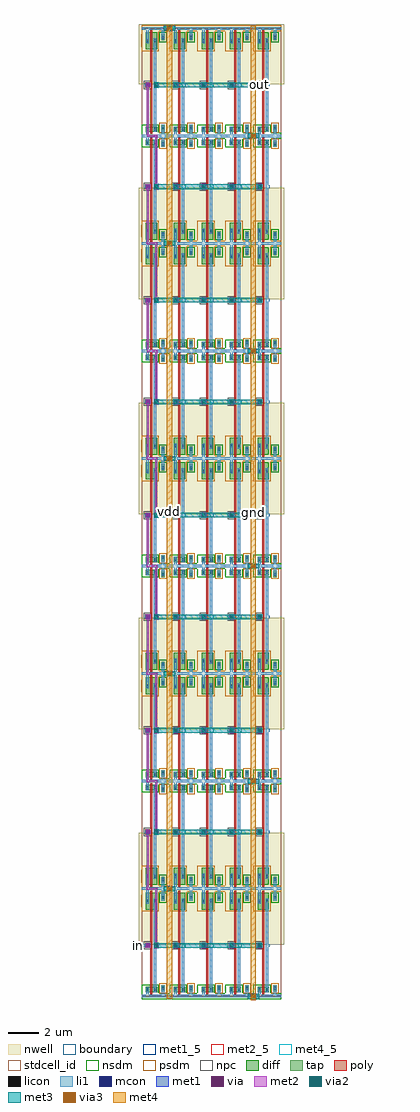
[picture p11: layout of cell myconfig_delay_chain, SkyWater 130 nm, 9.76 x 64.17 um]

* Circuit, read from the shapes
.subckt myconfig_delay_chain gnd in out vdd
XM1 myconfig_pinv_12_1/A in gnd gnd sky130_fd_pr__nfet_01v8 w=0.36 l=0.15
XM2 myconfig_pinv_12_10/A myconfig_pinv_12_1/A gnd gnd sky130_fd_pr__nfet_01v8 w=0.36 l=0.15
XM3 myconfig_pinv_12_11/A myconfig_pinv_12_10/A gnd gnd sky130_fd_pr__nfet_01v8 w=0.36 l=0.15
XM4 myconfig_pinv_12_16/A myconfig_pinv_12_11/A gnd gnd sky130_fd_pr__nfet_01v8 w=0.36 l=0.15
XM5 myconfig_pinv_12_21/A myconfig_pinv_12_16/A gnd gnd sky130_fd_pr__nfet_01v8 w=0.36 l=0.15
XM6 myconfig_pinv_12_26/A myconfig_pinv_12_21/A gnd gnd sky130_fd_pr__nfet_01v8 w=0.36 l=0.15
XM7 myconfig_pinv_12_31/A myconfig_pinv_12_26/A gnd gnd sky130_fd_pr__nfet_01v8 w=0.36 l=0.15
XM8 myconfig_pinv_12_36/A myconfig_pinv_12_31/A gnd gnd sky130_fd_pr__nfet_01v8 w=0.36 l=0.15
XM9 out myconfig_pinv_12_36/A gnd gnd sky130_fd_pr__nfet_01v8 w=0.36 l=0.15
XM10 myconfig_pinv_12_1/Z myconfig_pinv_12_1/A gnd gnd sky130_fd_pr__nfet_01v8 w=0.36 l=0.15
XM11 myconfig_pinv_12_6/Z myconfig_pinv_12_10/A gnd gnd sky130_fd_pr__nfet_01v8 w=0.36 l=0.15
XM12 myconfig_pinv_12_11/Z myconfig_pinv_12_11/A gnd gnd sky130_fd_pr__nfet_01v8 w=0.36 l=0.15
XM13 myconfig_pinv_12_16/Z myconfig_pinv_12_16/A gnd gnd sky130_fd_pr__nfet_01v8 w=0.36 l=0.15
XM14 myconfig_pinv_12_21/Z myconfig_pinv_12_21/A gnd gnd sky130_fd_pr__nfet_01v8 w=0.36 l=0.15
XM15 myconfig_pinv_12_26/Z myconfig_pinv_12_26/A gnd gnd sky130_fd_pr__nfet_01v8 w=0.36 l=0.15
XM16 myconfig_pinv_12_31/Z myconfig_pinv_12_31/A gnd gnd sky130_fd_pr__nfet_01v8 w=0.36 l=0.15
XM17 myconfig_pinv_12_36/Z myconfig_pinv_12_36/A gnd gnd sky130_fd_pr__nfet_01v8 w=0.36 l=0.15
XM18 myconfig_pinv_12_41/Z out gnd gnd sky130_fd_pr__nfet_01v8 w=0.36 l=0.15
XM19 myconfig_pinv_12_2/Z myconfig_pinv_12_1/A gnd gnd sky130_fd_pr__nfet_01v8 w=0.36 l=0.15
XM20 myconfig_pinv_12_7/Z myconfig_pinv_12_10/A gnd gnd sky130_fd_pr__nfet_01v8 w=0.36 l=0.15
XM21 myconfig_pinv_12_12/Z myconfig_pinv_12_11/A gnd gnd sky130_fd_pr__nfet_01v8 w=0.36 l=0.15
XM22 myconfig_pinv_12_17/Z myconfig_pinv_12_16/A gnd gnd sky130_fd_pr__nfet_01v8 w=0.36 l=0.15
XM23 myconfig_pinv_12_22/Z myconfig_pinv_12_21/A gnd gnd sky130_fd_pr__nfet_01v8 w=0.36 l=0.15
XM24 myconfig_pinv_12_27/Z myconfig_pinv_12_26/A gnd gnd sky130_fd_pr__nfet_01v8 w=0.36 l=0.15
XM25 myconfig_pinv_12_32/Z myconfig_pinv_12_31/A gnd gnd sky130_fd_pr__nfet_01v8 w=0.36 l=0.15
XM26 myconfig_pinv_12_37/Z myconfig_pinv_12_36/A gnd gnd sky130_fd_pr__nfet_01v8 w=0.36 l=0.15
XM27 myconfig_pinv_12_42/Z out gnd gnd sky130_fd_pr__nfet_01v8 w=0.36 l=0.15
XM28 myconfig_pinv_12_3/Z myconfig_pinv_12_1/A gnd gnd sky130_fd_pr__nfet_01v8 w=0.36 l=0.15
XM29 myconfig_pinv_12_8/Z myconfig_pinv_12_10/A gnd gnd sky130_fd_pr__nfet_01v8 w=0.36 l=0.15
XM30 myconfig_pinv_12_13/Z myconfig_pinv_12_11/A gnd gnd sky130_fd_pr__nfet_01v8 w=0.36 l=0.15
XM31 myconfig_pinv_12_18/Z myconfig_pinv_12_16/A gnd gnd sky130_fd_pr__nfet_01v8 w=0.36 l=0.15
XM32 myconfig_pinv_12_23/Z myconfig_pinv_12_21/A gnd gnd sky130_fd_pr__nfet_01v8 w=0.36 l=0.15
XM33 myconfig_pinv_12_28/Z myconfig_pinv_12_26/A gnd gnd sky130_fd_pr__nfet_01v8 w=0.36 l=0.15
XM34 myconfig_pinv_12_33/Z myconfig_pinv_12_31/A gnd gnd sky130_fd_pr__nfet_01v8 w=0.36 l=0.15
XM35 myconfig_pinv_12_38/Z myconfig_pinv_12_36/A gnd gnd sky130_fd_pr__nfet_01v8 w=0.36 l=0.15
XM36 myconfig_pinv_12_43/Z out gnd gnd sky130_fd_pr__nfet_01v8 w=0.36 l=0.15
XM37 myconfig_pinv_12_4/Z myconfig_pinv_12_1/A gnd gnd sky130_fd_pr__nfet_01v8 w=0.36 l=0.15
XM38 myconfig_pinv_12_9/Z myconfig_pinv_12_10/A gnd gnd sky130_fd_pr__nfet_01v8 w=0.36 l=0.15
XM39 myconfig_pinv_12_14/Z myconfig_pinv_12_11/A gnd gnd sky130_fd_pr__nfet_01v8 w=0.36 l=0.15
XM40 myconfig_pinv_12_19/Z myconfig_pinv_12_16/A gnd gnd sky130_fd_pr__nfet_01v8 w=0.36 l=0.15
XM41 myconfig_pinv_12_24/Z myconfig_pinv_12_21/A gnd gnd sky130_fd_pr__nfet_01v8 w=0.36 l=0.15
XM42 myconfig_pinv_12_29/Z myconfig_pinv_12_26/A gnd gnd sky130_fd_pr__nfet_01v8 w=0.36 l=0.15
XM43 myconfig_pinv_12_34/Z myconfig_pinv_12_31/A gnd gnd sky130_fd_pr__nfet_01v8 w=0.36 l=0.15
XM44 myconfig_pinv_12_39/Z myconfig_pinv_12_36/A gnd gnd sky130_fd_pr__nfet_01v8 w=0.36 l=0.15
XM45 myconfig_pinv_12_44/Z out gnd gnd sky130_fd_pr__nfet_01v8 w=0.36 l=0.15
XM46 myconfig_pinv_12_1/A in vdd vdd sky130_fd_pr__pfet_01v8 w=1.12 l=0.15
XM47 myconfig_pinv_12_10/A myconfig_pinv_12_1/A vdd vdd sky130_fd_pr__pfet_01v8 w=1.12 l=0.15
XM48 myconfig_pinv_12_11/A myconfig_pinv_12_10/A vdd vdd sky130_fd_pr__pfet_01v8 w=1.12 l=0.15
XM49 myconfig_pinv_12_16/A myconfig_pinv_12_11/A vdd vdd sky130_fd_pr__pfet_01v8 w=1.12 l=0.15
XM50 myconfig_pinv_12_21/A myconfig_pinv_12_16/A vdd vdd sky130_fd_pr__pfet_01v8 w=1.12 l=0.15
XM51 myconfig_pinv_12_26/A myconfig_pinv_12_21/A vdd vdd sky130_fd_pr__pfet_01v8 w=1.12 l=0.15
XM52 myconfig_pinv_12_31/A myconfig_pinv_12_26/A vdd vdd sky130_fd_pr__pfet_01v8 w=1.12 l=0.15
XM53 myconfig_pinv_12_36/A myconfig_pinv_12_31/A vdd vdd sky130_fd_pr__pfet_01v8 w=1.12 l=0.15
XM54 out myconfig_pinv_12_36/A vdd vdd sky130_fd_pr__pfet_01v8 w=1.12 l=0.15
XM55 myconfig_pinv_12_1/Z myconfig_pinv_12_1/A vdd vdd sky130_fd_pr__pfet_01v8 w=1.12 l=0.15
XM56 myconfig_pinv_12_6/Z myconfig_pinv_12_10/A vdd vdd sky130_fd_pr__pfet_01v8 w=1.12 l=0.15
XM57 myconfig_pinv_12_11/Z myconfig_pinv_12_11/A vdd vdd sky130_fd_pr__pfet_01v8 w=1.12 l=0.15
XM58 myconfig_pinv_12_16/Z myconfig_pinv_12_16/A vdd vdd sky130_fd_pr__pfet_01v8 w=1.12 l=0.15
XM59 myconfig_pinv_12_21/Z myconfig_pinv_12_21/A vdd vdd sky130_fd_pr__pfet_01v8 w=1.12 l=0.15
XM60 myconfig_pinv_12_26/Z myconfig_pinv_12_26/A vdd vdd sky130_fd_pr__pfet_01v8 w=1.12 l=0.15
XM61 myconfig_pinv_12_31/Z myconfig_pinv_12_31/A vdd vdd sky130_fd_pr__pfet_01v8 w=1.12 l=0.15
XM62 myconfig_pinv_12_36/Z myconfig_pinv_12_36/A vdd vdd sky130_fd_pr__pfet_01v8 w=1.12 l=0.15
XM63 myconfig_pinv_12_41/Z out vdd vdd sky130_fd_pr__pfet_01v8 w=1.12 l=0.15
XM64 myconfig_pinv_12_2/Z myconfig_pinv_12_1/A vdd vdd sky130_fd_pr__pfet_01v8 w=1.12 l=0.15
XM65 myconfig_pinv_12_7/Z myconfig_pinv_12_10/A vdd vdd sky130_fd_pr__pfet_01v8 w=1.12 l=0.15
XM66 myconfig_pinv_12_12/Z myconfig_pinv_12_11/A vdd vdd sky130_fd_pr__pfet_01v8 w=1.12 l=0.15
XM67 myconfig_pinv_12_17/Z myconfig_pinv_12_16/A vdd vdd sky130_fd_pr__pfet_01v8 w=1.12 l=0.15
XM68 myconfig_pinv_12_22/Z myconfig_pinv_12_21/A vdd vdd sky130_fd_pr__pfet_01v8 w=1.12 l=0.15
XM69 myconfig_pinv_12_27/Z myconfig_pinv_12_26/A vdd vdd sky130_fd_pr__pfet_01v8 w=1.12 l=0.15
XM70 myconfig_pinv_12_32/Z myconfig_pinv_12_31/A vdd vdd sky130_fd_pr__pfet_01v8 w=1.12 l=0.15
XM71 myconfig_pinv_12_37/Z myconfig_pinv_12_36/A vdd vdd sky130_fd_pr__pfet_01v8 w=1.12 l=0.15
XM72 myconfig_pinv_12_42/Z out vdd vdd sky130_fd_pr__pfet_01v8 w=1.12 l=0.15
XM73 myconfig_pinv_12_3/Z myconfig_pinv_12_1/A vdd vdd sky130_fd_pr__pfet_01v8 w=1.12 l=0.15
XM74 myconfig_pinv_12_8/Z myconfig_pinv_12_10/A vdd vdd sky130_fd_pr__pfet_01v8 w=1.12 l=0.15
XM75 myconfig_pinv_12_13/Z myconfig_pinv_12_11/A vdd vdd sky130_fd_pr__pfet_01v8 w=1.12 l=0.15
XM76 myconfig_pinv_12_18/Z myconfig_pinv_12_16/A vdd vdd sky130_fd_pr__pfet_01v8 w=1.12 l=0.15
XM77 myconfig_pinv_12_23/Z myconfig_pinv_12_21/A vdd vdd sky130_fd_pr__pfet_01v8 w=1.12 l=0.15
XM78 myconfig_pinv_12_28/Z myconfig_pinv_12_26/A vdd vdd sky130_fd_pr__pfet_01v8 w=1.12 l=0.15
XM79 myconfig_pinv_12_33/Z myconfig_pinv_12_31/A vdd vdd sky130_fd_pr__pfet_01v8 w=1.12 l=0.15
XM80 myconfig_pinv_12_38/Z myconfig_pinv_12_36/A vdd vdd sky130_fd_pr__pfet_01v8 w=1.12 l=0.15
XM81 myconfig_pinv_12_43/Z out vdd vdd sky130_fd_pr__pfet_01v8 w=1.12 l=0.15
XM82 myconfig_pinv_12_4/Z myconfig_pinv_12_1/A vdd vdd sky130_fd_pr__pfet_01v8 w=1.12 l=0.15
XM83 myconfig_pinv_12_9/Z myconfig_pinv_12_10/A vdd vdd sky130_fd_pr__pfet_01v8 w=1.12 l=0.15
XM84 myconfig_pinv_12_14/Z myconfig_pinv_12_11/A vdd vdd sky130_fd_pr__pfet_01v8 w=1.12 l=0.15
XM85 myconfig_pinv_12_19/Z myconfig_pinv_12_16/A vdd vdd sky130_fd_pr__pfet_01v8 w=1.12 l=0.15
XM86 myconfig_pinv_12_24/Z myconfig_pinv_12_21/A vdd vdd sky130_fd_pr__pfet_01v8 w=1.12 l=0.15
XM87 myconfig_pinv_12_29/Z myconfig_pinv_12_26/A vdd vdd sky130_fd_pr__pfet_01v8 w=1.12 l=0.15
XM88 myconfig_pinv_12_34/Z myconfig_pinv_12_31/A vdd vdd sky130_fd_pr__pfet_01v8 w=1.12 l=0.15
XM89 myconfig_pinv_12_39/Z myconfig_pinv_12_36/A vdd vdd sky130_fd_pr__pfet_01v8 w=1.12 l=0.15
XM90 myconfig_pinv_12_44/Z out vdd vdd sky130_fd_pr__pfet_01v8 w=1.12 l=0.15
.ends

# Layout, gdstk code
import gdstk
lib = gdstk.Library(unit=1e-6, precision=1e-09)
def R(c, l, rs):  # rectangles x0, y0, x1, y1
    for r in rs: c.add(gdstk.rectangle(r[:2], r[2:], *l))
def A(c, l, x, y, w, h, nx, ny, dx, dy):  # array of equal rectangles
    R(c, l, [(x+i*dx, y+j*dy, x+i*dx+w, y+j*dy+h) for i in range(nx) for j in range(ny)])
nwell = (64, 20)
diff = (65, 20)
tap = (65, 44)
poly = (66, 20)
licon = (66, 44)
li1 = (67, 20)
mcon = (67, 44)
met1_5 = (68, 5)
met1 = (68, 20)
via = (68, 44)
met2_5 = (69, 5)
met2 = (69, 20)
via2 = (69, 44)
met3 = (70, 20)
via3 = (70, 44)
met4_5 = (71, 5)
met4 = (71, 20)
stdcell_id = (81, 4)
nsdm = (93, 44)
psdm = (94, 20)
npc = (95, 20)
boundary = (235, 4)

myconfig_contact_11 = lib.new_cell('myconfig_contact_11')
R(myconfig_contact_11, nwell, [(-0.295,-0.255,0.545,0.585)])
R(myconfig_contact_11, diff, [(0,0.02,0.25,0.31)])
R(myconfig_contact_11, licon, [(0.04,0.08,0.21,0.25)])
R(myconfig_contact_11, li1, [(0.04,0,0.21,0.33)])
R(myconfig_contact_11, stdcell_id, [(-0.295,-0.255,0.545,0.585)])
R(myconfig_contact_11, psdm, [(-0.125,-0.105,0.375,0.435)])
R(myconfig_contact_11, boundary, [(-0.295,-0.255,0.545,0.585)])

myconfig_pmos_m1_w1_120_ = lib.new_cell('myconfig_pmos_m1_w1_120_sli_dli_da_p')
R(myconfig_pmos_m1_w1_120_, nwell, [(-0.27,-0.27,1.02,1.39)])
R(myconfig_pmos_m1_w1_120_, diff, [(0,0,0.75,1.12)])
R(myconfig_pmos_m1_w1_120_, poly, [(0.3,-0.13,0.45,1.25), (0.3,-0.13,0.45,1.25)])
R(myconfig_pmos_m1_w1_120_, li1, [(0.04,0.395,0.21,0.725), (0.54,0.395,0.71,0.725)])
R(myconfig_pmos_m1_w1_120_, stdcell_id, [(-0.27,-0.27,1.02,1.39)])
R(myconfig_pmos_m1_w1_120_, psdm, [(-0.125,-0.125,0.875,1.245)])
R(myconfig_pmos_m1_w1_120_, boundary, [(-0.27,-0.27,1.02,1.39)])
myconfig_pmos_m1_w1_120_.add(gdstk.Reference(myconfig_contact_11, (0,0.395)))
myconfig_pmos_m1_w1_120_.add(gdstk.Reference(myconfig_contact_11, (0.5,0.395)))
myconfig_pmos_m1_w1_120_.add(gdstk.Label('G', (0.375,0.56), layer=66, texttype=5))
myconfig_pmos_m1_w1_120_.add(gdstk.Label('S', (0.125,0.56), layer=67, texttype=5))
myconfig_pmos_m1_w1_120_.add(gdstk.Label('D', (0.625,0.56), layer=67, texttype=5))

myconfig_contact_10 = lib.new_cell('myconfig_contact_10')
R(myconfig_contact_10, diff, [(0,0.02,0.25,0.31)])
R(myconfig_contact_10, licon, [(0.04,0.08,0.21,0.25)])
R(myconfig_contact_10, li1, [(0.04,0,0.21,0.33)])
R(myconfig_contact_10, stdcell_id, [(-0.125,-0.105,0.375,0.435)])
R(myconfig_contact_10, nsdm, [(-0.125,-0.105,0.375,0.435)])
R(myconfig_contact_10, boundary, [(-0.125,-0.105,0.375,0.435)])

myconfig_nmos_m1_w0_360_ = lib.new_cell('myconfig_nmos_m1_w0_360_sli_dli_da_p')
R(myconfig_nmos_m1_w0_360_, diff, [(0,0,0.75,0.36)])
R(myconfig_nmos_m1_w0_360_, poly, [(0.3,-0.13,0.45,0.49), (0.3,-0.13,0.45,0.49)])
R(myconfig_nmos_m1_w0_360_, li1, [(0.04,0.015,0.21,0.345), (0.54,0.015,0.71,0.345)])
R(myconfig_nmos_m1_w0_360_, stdcell_id, [(-0.125,-0.13,0.875,0.49)])
R(myconfig_nmos_m1_w0_360_, nsdm, [(-0.125,-0.125,0.875,0.485)])
R(myconfig_nmos_m1_w0_360_, boundary, [(-0.125,-0.13,0.875,0.49)])
myconfig_nmos_m1_w0_360_.add(gdstk.Reference(myconfig_contact_10, (0,0.015)))
myconfig_nmos_m1_w0_360_.add(gdstk.Reference(myconfig_contact_10, (0.5,0.015)))
myconfig_nmos_m1_w0_360_.add(gdstk.Label('G', (0.375,0.18), layer=66, texttype=5))
myconfig_nmos_m1_w0_360_.add(gdstk.Label('S', (0.125,0.18), layer=67, texttype=5))
myconfig_nmos_m1_w0_360_.add(gdstk.Label('D', (0.625,0.18), layer=67, texttype=5))

myconfig_contact_28 = lib.new_cell('myconfig_contact_28')
R(myconfig_contact_28, nwell, [(-0.295,-0.215,0.545,0.625)])
R(myconfig_contact_28, tap, [(0,0,0.25,0.41)])
R(myconfig_contact_28, licon, [(0.04,0.12,0.21,0.29)])
R(myconfig_contact_28, li1, [(0.04,0.04,0.21,0.37)])
R(myconfig_contact_28, stdcell_id, [(-0.295,-0.215,0.545,0.625)])
R(myconfig_contact_28, nsdm, [(-0.125,-0.125,0.375,0.535)])
R(myconfig_contact_28, boundary, [(-0.295,-0.215,0.545,0.625)])

myconfig_contact_29 = lib.new_cell('myconfig_contact_29')
R(myconfig_contact_29, tap, [(0,0,0.25,0.41)])
R(myconfig_contact_29, licon, [(0.04,0.12,0.21,0.29)])
R(myconfig_contact_29, li1, [(0.04,0.04,0.21,0.37)])
R(myconfig_contact_29, stdcell_id, [(-0.125,-0.125,0.375,0.535)])
R(myconfig_contact_29, psdm, [(-0.125,-0.125,0.375,0.535)])
R(myconfig_contact_29, boundary, [(-0.125,-0.125,0.375,0.535)])

myconfig_contact_15 = lib.new_cell('myconfig_contact_15')
R(myconfig_contact_15, poly, [(0,0,0.33,0.33)])
R(myconfig_contact_15, licon, [(0.08,0.08,0.25,0.25)])
R(myconfig_contact_15, li1, [(0.08,0,0.25,0.33)])
R(myconfig_contact_15, stdcell_id, [(-0.1,-0.1,0.43,0.43)])
R(myconfig_contact_15, npc, [(-0.1,-0.1,0.43,0.43)])
R(myconfig_contact_15, boundary, [(-0.1,-0.1,0.43,0.43)])

myconfig_pinv_12 = lib.new_cell('myconfig_pinv_12')
R(myconfig_pinv_12, nwell, [(-0.18,3.395,2.02,7.355)])
R(myconfig_pinv_12, poly, [(0.57,0.745,0.72,5.565), (0.405,3.18,0.57,3.51)])
R(myconfig_pinv_12, li1, [(0,-0.085,1.84,0.085), (0.31,-0.085,0.48,0.27), (1.33,0,1.5,0.52), (0.81,0.27,0.98,6.42), (0.32,3.18,0.49,3.51), (0.895,3.26,1.065,3.43), (0.31,6.09,0.48,7.155), (1.33,6.485,1.5,7.07), (0,6.985,1.84,7.155)])
R(myconfig_pinv_12, stdcell_id, [(0,0,1.84,7.07), (0,0,1.84,7.07)])
R(myconfig_pinv_12, nsdm, [(0,-0.19,1.84,0.19), (0,0,1.145,0.74)])
R(myconfig_pinv_12, psdm, [(0,5.57,1.145,7.07), (0,6.88,1.84,7.26)])
R(myconfig_pinv_12, boundary, [(0,0,1.84,7.07), (0,0,1.84,7.07)])
myconfig_pinv_12.add(gdstk.Reference(myconfig_pmos_m1_w1_120_, (0.27,5.695)))
myconfig_pinv_12.add(gdstk.Reference(myconfig_nmos_m1_w0_360_, (0.27,0.255)))
myconfig_pinv_12.add(gdstk.Reference(myconfig_contact_28, (1.29,6.28)))
myconfig_pinv_12.add(gdstk.Reference(myconfig_contact_29, (1.29,0.315)))
myconfig_pinv_12.add(gdstk.Reference(myconfig_contact_15, (0.24,3.18)))
myconfig_pinv_12.add(gdstk.Label('A', (0.405,3.345), layer=67, texttype=5))
myconfig_pinv_12.add(gdstk.Label('Z', (0.98,3.345), layer=67, texttype=5))
myconfig_pinv_12.add(gdstk.Label('gnd', (0.92,0), layer=67, texttype=5))
myconfig_pinv_12.add(gdstk.Label('vdd', (0.92,7.07), layer=67, texttype=5))

myconfig_contact_13 = lib.new_cell('myconfig_contact_13')
R(myconfig_contact_13, li1, [(0.06,0,0.23,0.33)])
R(myconfig_contact_13, mcon, [(0.06,0.08,0.23,0.25)])
R(myconfig_contact_13, met1, [(0,0.05,0.29,0.28)])
R(myconfig_contact_13, stdcell_id, [(0,0,0.29,0.33)])
R(myconfig_contact_13, boundary, [(0,0,0.29,0.33)])

myconfig_contact_18 = lib.new_cell('myconfig_contact_18')
R(myconfig_contact_18, met1, [(0,0.03,0.32,0.29)])
R(myconfig_contact_18, via, [(0.085,0.085,0.235,0.235)])
R(myconfig_contact_18, met2, [(0.03,0,0.29,0.32)])
R(myconfig_contact_18, stdcell_id, [(0,0,0.32,0.32)])
R(myconfig_contact_18, boundary, [(0,0,0.32,0.32)])

myconfig_contact_21 = lib.new_cell('myconfig_contact_21')
R(myconfig_contact_21, met2, [(0.025,0,0.305,0.37)])
R(myconfig_contact_21, via2, [(0.065,0.085,0.265,0.285)])
R(myconfig_contact_21, met3, [(0,0.02,0.33,0.35)])
R(myconfig_contact_21, stdcell_id, [(0,0,0.33,0.37)])
R(myconfig_contact_21, boundary, [(0,0,0.33,0.37)])

myconfig_contact_22 = lib.new_cell('myconfig_contact_22')
R(myconfig_contact_22, met3, [(0,0.005,0.38,0.325)])
R(myconfig_contact_22, via3, [(0.09,0.065,0.29,0.265)])
R(myconfig_contact_22, met4, [(0.025,0,0.355,0.33)])
R(myconfig_contact_22, stdcell_id, [(0,0,0.38,0.33)])
R(myconfig_contact_22, boundary, [(0,0,0.38,0.33)])

myconfig_delay_chain = lib.new_cell('myconfig_delay_chain')
R(myconfig_delay_chain, li1, [(-0.215,3.26,0.405,3.43)])
R(myconfig_delay_chain, met1_5, [(7.695,59.835,7.835,59.975)])
A(myconfig_delay_chain, met1, 2.085, 3.215, 0.32, 0.26, 4, 2, 1.84, 7.45)
A(myconfig_delay_chain, met1, 2.085, 17.355, 0.32, 0.26, 4, 2, 1.84, 7.45)
A(myconfig_delay_chain, met1, 2.085, 31.495, 0.32, 0.26, 4, 2, 1.84, 7.45)
A(myconfig_delay_chain, met1, 2.085, 45.635, 0.32, 0.26, 4, 2, 1.84, 7.45)
A(myconfig_delay_chain, met1, 2.085, 59.775, 0.32, 0.26, 4, 1, 1.84, 0)
R(myconfig_delay_chain, met1, [(7.2,-0.13,7.52,0.13), (-0.375,3.215,-0.055,3.475), (0.245,3.215,0.565,3.475), (0.82,3.215,1.14,3.475), (1.68,6.94,2,7.2), (1.68,6.94,2,7.2), (0.245,10.665,0.565,10.925), (0.82,10.665,1.14,10.925), (7.2,14.01,7.52,14.27), (7.2,14.01,7.52,14.27), (0.245,17.355,0.565,17.615), (0.82,17.355,1.14,17.615), (1.68,21.08,2,21.34), (1.68,21.08,2,21.34), (0.245,24.805,0.565,25.065), (0.82,24.805,1.14,25.065), (7.2,28.15,7.52,28.41), (7.2,28.15,7.52,28.41), (0.245,31.495,0.565,31.755), (0.82,31.495,1.14,31.755), (1.68,35.22,2,35.48), (1.68,35.22,2,35.48), (0.245,38.945,0.565,39.205), (0.82,38.945,1.14,39.205), (7.2,42.29,7.52,42.55), (7.2,42.29,7.52,42.55), (0.245,45.635,0.565,45.895), (0.82,45.635,1.14,45.895), (1.68,49.36,2,49.62), (1.68,49.36,2,49.62), (0.245,53.085,0.565,53.345), (0.82,53.085,1.14,53.345), (7.2,56.43,7.52,56.69), (7.2,56.43,7.52,56.69), (0.245,59.775,0.565,60.035), (0.82,59.775,1.14,60.035), (7.695,59.835,7.835,59.975), (1.68,63.5,2,63.76)])
R(myconfig_delay_chain, met2_5, [(-0.285,3.275,-0.145,3.415)])
A(myconfig_delay_chain, met2, 2.105, 3.225, 0.28, 0.24, 4, 2, 1.84, 7.45)
A(myconfig_delay_chain, met2, 0.91, 3.345, 0.14, 3.725, 1, 4, 0, 14.14)
A(myconfig_delay_chain, met2, 0.335, 7, 0.14, 0.14, 1, 8, 0, 7.07)
A(myconfig_delay_chain, met2, 0.405, 7, 0.575, 0.14, 1, 8, 0, 7.07)
A(myconfig_delay_chain, met2, 0.91, 7, 0.14, 0.14, 1, 8, 0, 7.07)
A(myconfig_delay_chain, met2, 0.335, 7.07, 0.14, 3.725, 1, 4, 0, 14.14)
A(myconfig_delay_chain, met2, 0.91, 10.795, 0.14, 3.345, 1, 4, 0, 14.14)
A(myconfig_delay_chain, met2, 0.335, 14.14, 0.14, 3.345, 1, 4, 0, 14.14)
A(myconfig_delay_chain, met2, 2.105, 17.365, 0.28, 0.24, 4, 2, 1.84, 7.45)
A(myconfig_delay_chain, met2, 2.105, 31.505, 0.28, 0.24, 4, 2, 1.84, 7.45)
A(myconfig_delay_chain, met2, 2.105, 45.645, 0.28, 0.24, 4, 2, 1.84, 7.45)
A(myconfig_delay_chain, met2, 2.105, 59.785, 0.28, 0.24, 4, 1, 1.84, 0)
R(myconfig_delay_chain, met2, [(7.22,-0.12,7.5,0.12), (0.84,3.225,1.12,3.465), (-0.285,3.275,-0.145,3.415), (1.7,6.95,1.98,7.19), (1.7,6.95,1.98,7.19), (0.84,10.675,1.12,10.915), (7.22,14.02,7.5,14.26), (7.22,14.02,7.5,14.26), (0.84,17.365,1.12,17.605), (1.7,21.09,1.98,21.33), (1.7,21.09,1.98,21.33), (0.84,24.815,1.12,25.055), (7.22,28.16,7.5,28.4), (7.22,28.16,7.5,28.4), (0.84,31.505,1.12,31.745), (1.7,35.23,1.98,35.47), (1.7,35.23,1.98,35.47), (0.84,38.955,1.12,39.195), (7.22,42.3,7.5,42.54), (7.22,42.3,7.5,42.54), (0.84,45.645,1.12,45.885), (1.7,49.37,1.98,49.61), (1.7,49.37,1.98,49.61), (0.84,53.095,1.12,53.335), (7.22,56.44,7.5,56.68), (7.22,56.44,7.5,56.68), (0.84,59.785,1.12,60.025), (1.7,63.51,1.98,63.75)])
R(myconfig_delay_chain, met3, [(6.985,-0.16,7.735,0.16), (0.98,3.195,7.765,3.495), (1.465,6.91,2.215,7.23), (1.465,6.91,2.215,7.23), (0.98,10.645,7.765,10.945), (6.985,13.98,7.735,14.3), (6.985,13.98,7.735,14.3), (0.98,17.335,7.765,17.635), (1.465,21.05,2.215,21.37), (1.465,21.05,2.215,21.37), (0.98,24.785,7.765,25.085), (6.985,28.12,7.735,28.44), (6.985,28.12,7.735,28.44), (0.98,31.475,7.765,31.775), (1.465,35.19,2.215,35.51), (1.465,35.19,2.215,35.51), (0.98,38.925,7.765,39.225), (6.985,42.26,7.735,42.58), (6.985,42.26,7.735,42.58), (0.98,45.615,7.765,45.915), (1.465,49.33,2.215,49.65), (1.465,49.33,2.215,49.65), (0.98,53.065,7.765,53.365), (6.985,56.4,7.735,56.72), (6.985,56.4,7.735,56.72), (0.98,59.755,7.765,60.055), (1.465,63.47,2.215,63.79)])
R(myconfig_delay_chain, met4_5, [(7.195,-0.25,7.525,63.795), (1.675,-0.165,2.005,63.88)])
R(myconfig_delay_chain, met4, [(7.195,-0.25,7.525,63.795), (1.675,-0.165,2.005,63.88)])
R(myconfig_delay_chain, stdcell_id, [(0,0,9.2,63.63)])
R(myconfig_delay_chain, boundary, [(0,0,9.2,63.63)])
myconfig_delay_chain.add(gdstk.Reference(myconfig_pinv_12, (0,0)))
myconfig_delay_chain.add(gdstk.Reference(myconfig_pinv_12, (1.84,0)))
myconfig_delay_chain.add(gdstk.Reference(myconfig_pinv_12, (3.68,0)))
myconfig_delay_chain.add(gdstk.Reference(myconfig_pinv_12, (5.52,0)))
myconfig_delay_chain.add(gdstk.Reference(myconfig_pinv_12, (7.36,0)))
myconfig_delay_chain.add(gdstk.Reference(myconfig_pinv_12, (0,14.14), x_reflection=True))
myconfig_delay_chain.add(gdstk.Reference(myconfig_pinv_12, (1.84,14.14), x_reflection=True))
myconfig_delay_chain.add(gdstk.Reference(myconfig_pinv_12, (3.68,14.14), x_reflection=True))
myconfig_delay_chain.add(gdstk.Reference(myconfig_pinv_12, (5.52,14.14), x_reflection=True))
myconfig_delay_chain.add(gdstk.Reference(myconfig_pinv_12, (7.36,14.14), x_reflection=True))
myconfig_delay_chain.add(gdstk.Reference(myconfig_pinv_12, (0,14.14)))
myconfig_delay_chain.add(gdstk.Reference(myconfig_pinv_12, (1.84,14.14)))
myconfig_delay_chain.add(gdstk.Reference(myconfig_pinv_12, (3.68,14.14)))
myconfig_delay_chain.add(gdstk.Reference(myconfig_pinv_12, (5.52,14.14)))
myconfig_delay_chain.add(gdstk.Reference(myconfig_pinv_12, (7.36,14.14)))
myconfig_delay_chain.add(gdstk.Reference(myconfig_pinv_12, (0,28.28), x_reflection=True))
myconfig_delay_chain.add(gdstk.Reference(myconfig_pinv_12, (1.84,28.28), x_reflection=True))
myconfig_delay_chain.add(gdstk.Reference(myconfig_pinv_12, (3.68,28.28), x_reflection=True))
myconfig_delay_chain.add(gdstk.Reference(myconfig_pinv_12, (5.52,28.28), x_reflection=True))
myconfig_delay_chain.add(gdstk.Reference(myconfig_pinv_12, (7.36,28.28), x_reflection=True))
myconfig_delay_chain.add(gdstk.Reference(myconfig_pinv_12, (0,28.28)))
myconfig_delay_chain.add(gdstk.Reference(myconfig_pinv_12, (1.84,28.28)))
myconfig_delay_chain.add(gdstk.Reference(myconfig_pinv_12, (3.68,28.28)))
myconfig_delay_chain.add(gdstk.Reference(myconfig_pinv_12, (5.52,28.28)))
myconfig_delay_chain.add(gdstk.Reference(myconfig_pinv_12, (7.36,28.28)))
myconfig_delay_chain.add(gdstk.Reference(myconfig_pinv_12, (0,42.42), x_reflection=True))
myconfig_delay_chain.add(gdstk.Reference(myconfig_pinv_12, (1.84,42.42), x_reflection=True))
myconfig_delay_chain.add(gdstk.Reference(myconfig_pinv_12, (3.68,42.42), x_reflection=True))
myconfig_delay_chain.add(gdstk.Reference(myconfig_pinv_12, (5.52,42.42), x_reflection=True))
myconfig_delay_chain.add(gdstk.Reference(myconfig_pinv_12, (7.36,42.42), x_reflection=True))
myconfig_delay_chain.add(gdstk.Reference(myconfig_pinv_12, (0,42.42)))
myconfig_delay_chain.add(gdstk.Reference(myconfig_pinv_12, (1.84,42.42)))
myconfig_delay_chain.add(gdstk.Reference(myconfig_pinv_12, (3.68,42.42)))
myconfig_delay_chain.add(gdstk.Reference(myconfig_pinv_12, (5.52,42.42)))
myconfig_delay_chain.add(gdstk.Reference(myconfig_pinv_12, (7.36,42.42)))
myconfig_delay_chain.add(gdstk.Reference(myconfig_pinv_12, (0,56.56), x_reflection=True))
myconfig_delay_chain.add(gdstk.Reference(myconfig_pinv_12, (1.84,56.56), x_reflection=True))
myconfig_delay_chain.add(gdstk.Reference(myconfig_pinv_12, (3.68,56.56), x_reflection=True))
myconfig_delay_chain.add(gdstk.Reference(myconfig_pinv_12, (5.52,56.56), x_reflection=True))
myconfig_delay_chain.add(gdstk.Reference(myconfig_pinv_12, (7.36,56.56), x_reflection=True))
myconfig_delay_chain.add(gdstk.Reference(myconfig_pinv_12, (0,56.56)))
myconfig_delay_chain.add(gdstk.Reference(myconfig_pinv_12, (1.84,56.56)))
myconfig_delay_chain.add(gdstk.Reference(myconfig_pinv_12, (3.68,56.56)))
myconfig_delay_chain.add(gdstk.Reference(myconfig_pinv_12, (5.52,56.56)))
myconfig_delay_chain.add(gdstk.Reference(myconfig_pinv_12, (7.36,56.56)))
myconfig_delay_chain.add(gdstk.Reference(myconfig_contact_13, (2.1,3.18)))
myconfig_delay_chain.add(gdstk.Reference(myconfig_contact_18, (2.085,3.185)))
myconfig_delay_chain.add(gdstk.Reference(myconfig_contact_21, (2.08,3.16)))
myconfig_delay_chain.add(gdstk.Reference(myconfig_contact_13, (3.94,3.18)))
myconfig_delay_chain.add(gdstk.Reference(myconfig_contact_18, (3.925,3.185)))
myconfig_delay_chain.add(gdstk.Reference(myconfig_contact_21, (3.92,3.16)))
myconfig_delay_chain.add(gdstk.Reference(myconfig_contact_13, (5.78,3.18)))
myconfig_delay_chain.add(gdstk.Reference(myconfig_contact_18, (5.765,3.185)))
myconfig_delay_chain.add(gdstk.Reference(myconfig_contact_21, (5.76,3.16)))
myconfig_delay_chain.add(gdstk.Reference(myconfig_contact_13, (7.62,3.18)))
myconfig_delay_chain.add(gdstk.Reference(myconfig_contact_18, (7.605,3.185)))
myconfig_delay_chain.add(gdstk.Reference(myconfig_contact_21, (7.6,3.16)))
myconfig_delay_chain.add(gdstk.Reference(myconfig_contact_13, (0.26,3.18)))
myconfig_delay_chain.add(gdstk.Reference(myconfig_contact_18, (0.245,3.185)))
myconfig_delay_chain.add(gdstk.Reference(myconfig_contact_13, (0.835,3.18)))
myconfig_delay_chain.add(gdstk.Reference(myconfig_contact_18, (0.82,3.185)))
myconfig_delay_chain.add(gdstk.Reference(myconfig_contact_21, (0.815,3.16)))
myconfig_delay_chain.add(gdstk.Reference(myconfig_contact_13, (2.1,10.63)))
myconfig_delay_chain.add(gdstk.Reference(myconfig_contact_18, (2.085,10.635)))
myconfig_delay_chain.add(gdstk.Reference(myconfig_contact_21, (2.08,10.61)))
myconfig_delay_chain.add(gdstk.Reference(myconfig_contact_13, (3.94,10.63)))
myconfig_delay_chain.add(gdstk.Reference(myconfig_contact_18, (3.925,10.635)))
myconfig_delay_chain.add(gdstk.Reference(myconfig_contact_21, (3.92,10.61)))
myconfig_delay_chain.add(gdstk.Reference(myconfig_contact_13, (5.78,10.63)))
myconfig_delay_chain.add(gdstk.Reference(myconfig_contact_18, (5.765,10.635)))
myconfig_delay_chain.add(gdstk.Reference(myconfig_contact_21, (5.76,10.61)))
myconfig_delay_chain.add(gdstk.Reference(myconfig_contact_13, (7.62,10.63)))
myconfig_delay_chain.add(gdstk.Reference(myconfig_contact_18, (7.605,10.635)))
myconfig_delay_chain.add(gdstk.Reference(myconfig_contact_21, (7.6,10.61)))
myconfig_delay_chain.add(gdstk.Reference(myconfig_contact_13, (0.26,10.63)))
myconfig_delay_chain.add(gdstk.Reference(myconfig_contact_18, (0.245,10.635)))
myconfig_delay_chain.add(gdstk.Reference(myconfig_contact_13, (0.835,10.63)))
myconfig_delay_chain.add(gdstk.Reference(myconfig_contact_18, (0.82,10.635)))
myconfig_delay_chain.add(gdstk.Reference(myconfig_contact_21, (0.815,10.61)))
myconfig_delay_chain.add(gdstk.Reference(myconfig_contact_13, (2.1,17.32)))
myconfig_delay_chain.add(gdstk.Reference(myconfig_contact_18, (2.085,17.325)))
myconfig_delay_chain.add(gdstk.Reference(myconfig_contact_21, (2.08,17.3)))
myconfig_delay_chain.add(gdstk.Reference(myconfig_contact_13, (3.94,17.32)))
myconfig_delay_chain.add(gdstk.Reference(myconfig_contact_18, (3.925,17.325)))
myconfig_delay_chain.add(gdstk.Reference(myconfig_contact_21, (3.92,17.3)))
myconfig_delay_chain.add(gdstk.Reference(myconfig_contact_13, (5.78,17.32)))
myconfig_delay_chain.add(gdstk.Reference(myconfig_contact_18, (5.765,17.325)))
myconfig_delay_chain.add(gdstk.Reference(myconfig_contact_21, (5.76,17.3)))
myconfig_delay_chain.add(gdstk.Reference(myconfig_contact_13, (7.62,17.32)))
myconfig_delay_chain.add(gdstk.Reference(myconfig_contact_18, (7.605,17.325)))
myconfig_delay_chain.add(gdstk.Reference(myconfig_contact_21, (7.6,17.3)))
myconfig_delay_chain.add(gdstk.Reference(myconfig_contact_13, (0.26,17.32)))
myconfig_delay_chain.add(gdstk.Reference(myconfig_contact_18, (0.245,17.325)))
myconfig_delay_chain.add(gdstk.Reference(myconfig_contact_13, (0.835,17.32)))
myconfig_delay_chain.add(gdstk.Reference(myconfig_contact_18, (0.82,17.325)))
myconfig_delay_chain.add(gdstk.Reference(myconfig_contact_21, (0.815,17.3)))
myconfig_delay_chain.add(gdstk.Reference(myconfig_contact_13, (2.1,24.77)))
myconfig_delay_chain.add(gdstk.Reference(myconfig_contact_18, (2.085,24.775)))
myconfig_delay_chain.add(gdstk.Reference(myconfig_contact_21, (2.08,24.75)))
myconfig_delay_chain.add(gdstk.Reference(myconfig_contact_13, (3.94,24.77)))
myconfig_delay_chain.add(gdstk.Reference(myconfig_contact_18, (3.925,24.775)))
myconfig_delay_chain.add(gdstk.Reference(myconfig_contact_21, (3.92,24.75)))
myconfig_delay_chain.add(gdstk.Reference(myconfig_contact_13, (5.78,24.77)))
myconfig_delay_chain.add(gdstk.Reference(myconfig_contact_18, (5.765,24.775)))
myconfig_delay_chain.add(gdstk.Reference(myconfig_contact_21, (5.76,24.75)))
myconfig_delay_chain.add(gdstk.Reference(myconfig_contact_13, (7.62,24.77)))
myconfig_delay_chain.add(gdstk.Reference(myconfig_contact_18, (7.605,24.775)))
myconfig_delay_chain.add(gdstk.Reference(myconfig_contact_21, (7.6,24.75)))
myconfig_delay_chain.add(gdstk.Reference(myconfig_contact_13, (0.26,24.77)))
myconfig_delay_chain.add(gdstk.Reference(myconfig_contact_18, (0.245,24.775)))
myconfig_delay_chain.add(gdstk.Reference(myconfig_contact_13, (0.835,24.77)))
myconfig_delay_chain.add(gdstk.Reference(myconfig_contact_18, (0.82,24.775)))
myconfig_delay_chain.add(gdstk.Reference(myconfig_contact_21, (0.815,24.75)))
myconfig_delay_chain.add(gdstk.Reference(myconfig_contact_13, (2.1,31.46)))
myconfig_delay_chain.add(gdstk.Reference(myconfig_contact_18, (2.085,31.465)))
myconfig_delay_chain.add(gdstk.Reference(myconfig_contact_21, (2.08,31.44)))
myconfig_delay_chain.add(gdstk.Reference(myconfig_contact_13, (3.94,31.46)))
myconfig_delay_chain.add(gdstk.Reference(myconfig_contact_18, (3.925,31.465)))
myconfig_delay_chain.add(gdstk.Reference(myconfig_contact_21, (3.92,31.44)))
myconfig_delay_chain.add(gdstk.Reference(myconfig_contact_13, (5.78,31.46)))
myconfig_delay_chain.add(gdstk.Reference(myconfig_contact_18, (5.765,31.465)))
myconfig_delay_chain.add(gdstk.Reference(myconfig_contact_21, (5.76,31.44)))
myconfig_delay_chain.add(gdstk.Reference(myconfig_contact_13, (7.62,31.46)))
myconfig_delay_chain.add(gdstk.Reference(myconfig_contact_18, (7.605,31.465)))
myconfig_delay_chain.add(gdstk.Reference(myconfig_contact_21, (7.6,31.44)))
myconfig_delay_chain.add(gdstk.Reference(myconfig_contact_13, (0.26,31.46)))
myconfig_delay_chain.add(gdstk.Reference(myconfig_contact_18, (0.245,31.465)))
myconfig_delay_chain.add(gdstk.Reference(myconfig_contact_13, (0.835,31.46)))
myconfig_delay_chain.add(gdstk.Reference(myconfig_contact_18, (0.82,31.465)))
myconfig_delay_chain.add(gdstk.Reference(myconfig_contact_21, (0.815,31.44)))
myconfig_delay_chain.add(gdstk.Reference(myconfig_contact_13, (2.1,38.91)))
myconfig_delay_chain.add(gdstk.Reference(myconfig_contact_18, (2.085,38.915)))
myconfig_delay_chain.add(gdstk.Reference(myconfig_contact_21, (2.08,38.89)))
myconfig_delay_chain.add(gdstk.Reference(myconfig_contact_13, (3.94,38.91)))
myconfig_delay_chain.add(gdstk.Reference(myconfig_contact_18, (3.925,38.915)))
myconfig_delay_chain.add(gdstk.Reference(myconfig_contact_21, (3.92,38.89)))
myconfig_delay_chain.add(gdstk.Reference(myconfig_contact_13, (5.78,38.91)))
myconfig_delay_chain.add(gdstk.Reference(myconfig_contact_18, (5.765,38.915)))
myconfig_delay_chain.add(gdstk.Reference(myconfig_contact_21, (5.76,38.89)))
myconfig_delay_chain.add(gdstk.Reference(myconfig_contact_13, (7.62,38.91)))
myconfig_delay_chain.add(gdstk.Reference(myconfig_contact_18, (7.605,38.915)))
myconfig_delay_chain.add(gdstk.Reference(myconfig_contact_21, (7.6,38.89)))
myconfig_delay_chain.add(gdstk.Reference(myconfig_contact_13, (0.26,38.91)))
myconfig_delay_chain.add(gdstk.Reference(myconfig_contact_18, (0.245,38.915)))
myconfig_delay_chain.add(gdstk.Reference(myconfig_contact_13, (0.835,38.91)))
myconfig_delay_chain.add(gdstk.Reference(myconfig_contact_18, (0.82,38.915)))
myconfig_delay_chain.add(gdstk.Reference(myconfig_contact_21, (0.815,38.89)))
myconfig_delay_chain.add(gdstk.Reference(myconfig_contact_13, (2.1,45.6)))
myconfig_delay_chain.add(gdstk.Reference(myconfig_contact_18, (2.085,45.605)))
myconfig_delay_chain.add(gdstk.Reference(myconfig_contact_21, (2.08,45.58)))
myconfig_delay_chain.add(gdstk.Reference(myconfig_contact_13, (3.94,45.6)))
myconfig_delay_chain.add(gdstk.Reference(myconfig_contact_18, (3.925,45.605)))
myconfig_delay_chain.add(gdstk.Reference(myconfig_contact_21, (3.92,45.58)))
myconfig_delay_chain.add(gdstk.Reference(myconfig_contact_13, (5.78,45.6)))
myconfig_delay_chain.add(gdstk.Reference(myconfig_contact_18, (5.765,45.605)))
myconfig_delay_chain.add(gdstk.Reference(myconfig_contact_21, (5.76,45.58)))
myconfig_delay_chain.add(gdstk.Reference(myconfig_contact_13, (7.62,45.6)))
myconfig_delay_chain.add(gdstk.Reference(myconfig_contact_18, (7.605,45.605)))
myconfig_delay_chain.add(gdstk.Reference(myconfig_contact_21, (7.6,45.58)))
myconfig_delay_chain.add(gdstk.Reference(myconfig_contact_13, (0.26,45.6)))
myconfig_delay_chain.add(gdstk.Reference(myconfig_contact_18, (0.245,45.605)))
myconfig_delay_chain.add(gdstk.Reference(myconfig_contact_13, (0.835,45.6)))
myconfig_delay_chain.add(gdstk.Reference(myconfig_contact_18, (0.82,45.605)))
myconfig_delay_chain.add(gdstk.Reference(myconfig_contact_21, (0.815,45.58)))
myconfig_delay_chain.add(gdstk.Reference(myconfig_contact_13, (2.1,53.05)))
myconfig_delay_chain.add(gdstk.Reference(myconfig_contact_18, (2.085,53.055)))
myconfig_delay_chain.add(gdstk.Reference(myconfig_contact_21, (2.08,53.03)))
myconfig_delay_chain.add(gdstk.Reference(myconfig_contact_13, (3.94,53.05)))
myconfig_delay_chain.add(gdstk.Reference(myconfig_contact_18, (3.925,53.055)))
myconfig_delay_chain.add(gdstk.Reference(myconfig_contact_21, (3.92,53.03)))
myconfig_delay_chain.add(gdstk.Reference(myconfig_contact_13, (5.78,53.05)))
myconfig_delay_chain.add(gdstk.Reference(myconfig_contact_18, (5.765,53.055)))
myconfig_delay_chain.add(gdstk.Reference(myconfig_contact_21, (5.76,53.03)))
myconfig_delay_chain.add(gdstk.Reference(myconfig_contact_13, (7.62,53.05)))
myconfig_delay_chain.add(gdstk.Reference(myconfig_contact_18, (7.605,53.055)))
myconfig_delay_chain.add(gdstk.Reference(myconfig_contact_21, (7.6,53.03)))
myconfig_delay_chain.add(gdstk.Reference(myconfig_contact_13, (0.26,53.05)))
myconfig_delay_chain.add(gdstk.Reference(myconfig_contact_18, (0.245,53.055)))
myconfig_delay_chain.add(gdstk.Reference(myconfig_contact_13, (0.835,53.05)))
myconfig_delay_chain.add(gdstk.Reference(myconfig_contact_18, (0.82,53.055)))
myconfig_delay_chain.add(gdstk.Reference(myconfig_contact_21, (0.815,53.03)))
myconfig_delay_chain.add(gdstk.Reference(myconfig_contact_13, (2.1,59.74)))
myconfig_delay_chain.add(gdstk.Reference(myconfig_contact_18, (2.085,59.745)))
myconfig_delay_chain.add(gdstk.Reference(myconfig_contact_21, (2.08,59.72)))
myconfig_delay_chain.add(gdstk.Reference(myconfig_contact_13, (3.94,59.74)))
myconfig_delay_chain.add(gdstk.Reference(myconfig_contact_18, (3.925,59.745)))
myconfig_delay_chain.add(gdstk.Reference(myconfig_contact_21, (3.92,59.72)))
myconfig_delay_chain.add(gdstk.Reference(myconfig_contact_13, (5.78,59.74)))
myconfig_delay_chain.add(gdstk.Reference(myconfig_contact_18, (5.765,59.745)))
myconfig_delay_chain.add(gdstk.Reference(myconfig_contact_21, (5.76,59.72)))
myconfig_delay_chain.add(gdstk.Reference(myconfig_contact_13, (7.62,59.74)))
myconfig_delay_chain.add(gdstk.Reference(myconfig_contact_18, (7.605,59.745)))
myconfig_delay_chain.add(gdstk.Reference(myconfig_contact_21, (7.6,59.72)))
myconfig_delay_chain.add(gdstk.Reference(myconfig_contact_13, (0.26,59.74)))
myconfig_delay_chain.add(gdstk.Reference(myconfig_contact_18, (0.245,59.745)))
myconfig_delay_chain.add(gdstk.Reference(myconfig_contact_13, (0.835,59.74)))
myconfig_delay_chain.add(gdstk.Reference(myconfig_contact_18, (0.82,59.745)))
myconfig_delay_chain.add(gdstk.Reference(myconfig_contact_21, (0.815,59.72)))
myconfig_delay_chain.add(gdstk.Reference(myconfig_contact_13, (1.695,6.905)))
myconfig_delay_chain.add(gdstk.Reference(myconfig_contact_18, (1.68,6.91)))
myconfig_delay_chain.add(gdstk.Reference(myconfig_contact_21, (1.675,6.885)))
myconfig_delay_chain.add(gdstk.Reference(myconfig_contact_22, (1.65,6.905)))
myconfig_delay_chain.add(gdstk.Reference(myconfig_contact_13, (1.695,6.905)))
myconfig_delay_chain.add(gdstk.Reference(myconfig_contact_18, (1.68,6.91)))
myconfig_delay_chain.add(gdstk.Reference(myconfig_contact_21, (1.675,6.885)))
myconfig_delay_chain.add(gdstk.Reference(myconfig_contact_22, (1.65,6.905)))
myconfig_delay_chain.add(gdstk.Reference(myconfig_contact_13, (1.695,21.045)))
myconfig_delay_chain.add(gdstk.Reference(myconfig_contact_18, (1.68,21.05)))
myconfig_delay_chain.add(gdstk.Reference(myconfig_contact_21, (1.675,21.025)))
myconfig_delay_chain.add(gdstk.Reference(myconfig_contact_22, (1.65,21.045)))
myconfig_delay_chain.add(gdstk.Reference(myconfig_contact_13, (1.695,21.045)))
myconfig_delay_chain.add(gdstk.Reference(myconfig_contact_18, (1.68,21.05)))
myconfig_delay_chain.add(gdstk.Reference(myconfig_contact_21, (1.675,21.025)))
myconfig_delay_chain.add(gdstk.Reference(myconfig_contact_22, (1.65,21.045)))
myconfig_delay_chain.add(gdstk.Reference(myconfig_contact_13, (1.695,35.185)))
myconfig_delay_chain.add(gdstk.Reference(myconfig_contact_18, (1.68,35.19)))
myconfig_delay_chain.add(gdstk.Reference(myconfig_contact_21, (1.675,35.165)))
myconfig_delay_chain.add(gdstk.Reference(myconfig_contact_22, (1.65,35.185)))
myconfig_delay_chain.add(gdstk.Reference(myconfig_contact_13, (1.695,35.185)))
myconfig_delay_chain.add(gdstk.Reference(myconfig_contact_18, (1.68,35.19)))
myconfig_delay_chain.add(gdstk.Reference(myconfig_contact_21, (1.675,35.165)))
myconfig_delay_chain.add(gdstk.Reference(myconfig_contact_22, (1.65,35.185)))
myconfig_delay_chain.add(gdstk.Reference(myconfig_contact_13, (1.695,49.325)))
myconfig_delay_chain.add(gdstk.Reference(myconfig_contact_18, (1.68,49.33)))
myconfig_delay_chain.add(gdstk.Reference(myconfig_contact_21, (1.675,49.305)))
myconfig_delay_chain.add(gdstk.Reference(myconfig_contact_22, (1.65,49.325)))
myconfig_delay_chain.add(gdstk.Reference(myconfig_contact_13, (1.695,49.325)))
myconfig_delay_chain.add(gdstk.Reference(myconfig_contact_18, (1.68,49.33)))
myconfig_delay_chain.add(gdstk.Reference(myconfig_contact_21, (1.675,49.305)))
myconfig_delay_chain.add(gdstk.Reference(myconfig_contact_22, (1.65,49.325)))
myconfig_delay_chain.add(gdstk.Reference(myconfig_contact_13, (1.695,63.465)))
myconfig_delay_chain.add(gdstk.Reference(myconfig_contact_18, (1.68,63.47)))
myconfig_delay_chain.add(gdstk.Reference(myconfig_contact_21, (1.675,63.445)))
myconfig_delay_chain.add(gdstk.Reference(myconfig_contact_22, (1.65,63.465)))
myconfig_delay_chain.add(gdstk.Reference(myconfig_contact_13, (7.215,-0.165)))
myconfig_delay_chain.add(gdstk.Reference(myconfig_contact_18, (7.2,-0.16)))
myconfig_delay_chain.add(gdstk.Reference(myconfig_contact_21, (7.195,-0.185)))
myconfig_delay_chain.add(gdstk.Reference(myconfig_contact_22, (7.17,-0.165)))
myconfig_delay_chain.add(gdstk.Reference(myconfig_contact_13, (7.215,13.975)))
myconfig_delay_chain.add(gdstk.Reference(myconfig_contact_18, (7.2,13.98)))
myconfig_delay_chain.add(gdstk.Reference(myconfig_contact_21, (7.195,13.955)))
myconfig_delay_chain.add(gdstk.Reference(myconfig_contact_22, (7.17,13.975)))
myconfig_delay_chain.add(gdstk.Reference(myconfig_contact_13, (7.215,13.975)))
myconfig_delay_chain.add(gdstk.Reference(myconfig_contact_18, (7.2,13.98)))
myconfig_delay_chain.add(gdstk.Reference(myconfig_contact_21, (7.195,13.955)))
myconfig_delay_chain.add(gdstk.Reference(myconfig_contact_22, (7.17,13.975)))
myconfig_delay_chain.add(gdstk.Reference(myconfig_contact_13, (7.215,28.115)))
myconfig_delay_chain.add(gdstk.Reference(myconfig_contact_18, (7.2,28.12)))
myconfig_delay_chain.add(gdstk.Reference(myconfig_contact_21, (7.195,28.095)))
myconfig_delay_chain.add(gdstk.Reference(myconfig_contact_22, (7.17,28.115)))
myconfig_delay_chain.add(gdstk.Reference(myconfig_contact_13, (7.215,28.115)))
myconfig_delay_chain.add(gdstk.Reference(myconfig_contact_18, (7.2,28.12)))
myconfig_delay_chain.add(gdstk.Reference(myconfig_contact_21, (7.195,28.095)))
myconfig_delay_chain.add(gdstk.Reference(myconfig_contact_22, (7.17,28.115)))
myconfig_delay_chain.add(gdstk.Reference(myconfig_contact_13, (7.215,42.255)))
myconfig_delay_chain.add(gdstk.Reference(myconfig_contact_18, (7.2,42.26)))
myconfig_delay_chain.add(gdstk.Reference(myconfig_contact_21, (7.195,42.235)))
myconfig_delay_chain.add(gdstk.Reference(myconfig_contact_22, (7.17,42.255)))
myconfig_delay_chain.add(gdstk.Reference(myconfig_contact_13, (7.215,42.255)))
myconfig_delay_chain.add(gdstk.Reference(myconfig_contact_18, (7.2,42.26)))
myconfig_delay_chain.add(gdstk.Reference(myconfig_contact_21, (7.195,42.235)))
myconfig_delay_chain.add(gdstk.Reference(myconfig_contact_22, (7.17,42.255)))
myconfig_delay_chain.add(gdstk.Reference(myconfig_contact_13, (7.215,56.395)))
myconfig_delay_chain.add(gdstk.Reference(myconfig_contact_18, (7.2,56.4)))
myconfig_delay_chain.add(gdstk.Reference(myconfig_contact_21, (7.195,56.375)))
myconfig_delay_chain.add(gdstk.Reference(myconfig_contact_22, (7.17,56.395)))
myconfig_delay_chain.add(gdstk.Reference(myconfig_contact_13, (7.215,56.395)))
myconfig_delay_chain.add(gdstk.Reference(myconfig_contact_18, (7.2,56.4)))
myconfig_delay_chain.add(gdstk.Reference(myconfig_contact_21, (7.195,56.375)))
myconfig_delay_chain.add(gdstk.Reference(myconfig_contact_22, (7.17,56.395)))
myconfig_delay_chain.add(gdstk.Reference(myconfig_contact_13, (-0.36,3.18)))
myconfig_delay_chain.add(gdstk.Reference(myconfig_contact_18, (-0.375,3.185)))
myconfig_delay_chain.add(gdstk.Reference(myconfig_contact_13, (7.62,59.74)))
myconfig_delay_chain.add(gdstk.Label('vdd', (1.84,31.858), layer=71, texttype=5))
myconfig_delay_chain.add(gdstk.Label('gnd', (7.36,31.772), layer=71, texttype=5))
myconfig_delay_chain.add(gdstk.Label('in', (-0.215,3.345), layer=69, texttype=5))
myconfig_delay_chain.add(gdstk.Label('out', (7.765,59.905), layer=68, texttype=5))

lib.write_gds('myconfig_delay_chain.gds')
